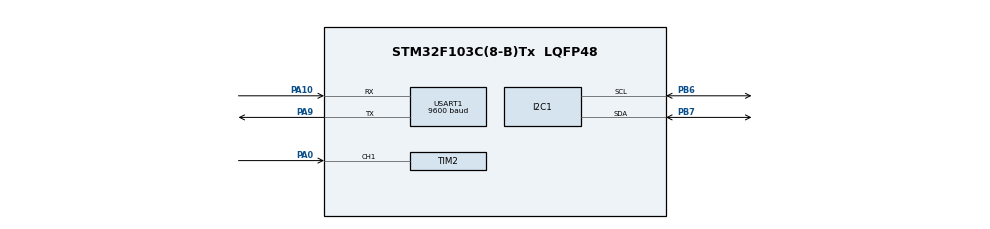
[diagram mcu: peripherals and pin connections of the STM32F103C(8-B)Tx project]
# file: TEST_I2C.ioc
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Mcu.Family=STM32F1
Mcu.Name=STM32F103C(8-B)Tx
Mcu.Package=LQFP48
NVIC.PriorityGroup=NVIC_PRIORITYGROUP_4
NVIC.TIM2_IRQn=true\:0\:0\:false\:false\:true\:true\:true\:true
NVIC.USART1_IRQn=true\:0\:0\:false\:false\:true\:true\:true\:true
PA0-WKUP.Signal=S_TIM2_CH1_ETR
PA10.Mode=Asynchronous
PA10.Signal=USART1_RX
PA13.Mode=Serial_Wire
PA13.Signal=SYS_JTMS-SWDIO
PA14.Mode=Serial_Wire
PA14.Signal=SYS_JTCK-SWCLK
PA9.Mode=Asynchronous
PA9.Signal=USART1_TX
PB6.Mode=I2C
PB6.Signal=I2C1_SCL
PB7.Mode=I2C
PB7.Signal=I2C1_SDA
PD0-OSC_IN.Mode=HSE-External-Oscillator
PD0-OSC_IN.Signal=RCC_OSC_IN
PD1-OSC_OUT.Mode=HSE-External-Oscillator
PD1-OSC_OUT.Signal=RCC_OSC_OUT
ProjectManager.HeapSize=0x200
ProjectManager.StackSize=0x400
ProjectManager.TargetToolchain=MDK-ARM V5.32
RCC.APB1Freq_Value=8000000
RCC.APB2Freq_Value=8000000
SH.S_TIM2_CH1_ETR.0=TIM2_CH1,Input_Capture1_from_TI1
TIM2.Channel-Input_Capture1_from_TI1=TIM_CHANNEL_1
TIM2.ICPolarity_CH1=TIM_INPUTCHANNELPOLARITY_FALLING
TIM2.Prescaler=799
USART1.BaudRate=9600
USART1.VirtualMode=VM_ASYNC
board=custom

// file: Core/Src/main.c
/* USER CODE BEGIN Header */
/**
  ******************************************************************************
  * @file           : main.c
  * @brief          : Main program body
  ******************************************************************************
  * @attention
  *
  * Copyright (c) 2025 STMicroelectronics.
  * All rights reserved.
  *
  * This software is licensed under terms that can be found in the LICENSE file
  * in the root directory of this software component.
  * If no LICENSE file comes with this software, it is provided AS-IS.
  *
  ******************************************************************************
  */
/* USER CODE END Header */
#include "main.h"

/* USER CODE BEGIN Includes */
#include "CLCD_I2C.h"
#include <stdio.h>
#include <string.h>
/* USER CODE END Includes */

I2C_HandleTypeDef hi2c1;

TIM_HandleTypeDef htim2;

UART_HandleTypeDef huart1;

/* USER CODE BEGIN PV */
CLCD_I2C_Name LCD1;
uint8_t key = 0;
char LCD_send[16];
char status[10];

uint8_t rx_data;          // D? li?u nh?n 1 byte
uint8_t rx_flag = 0;      // C? b?o d? nh?n du?c d? li?u
float sensor_value = 0;   // Gi? tr? d? li?u thay d?i (v? d? c?m bi?n)
float last_value = 0;     // Luu gi? tr? cu d? so s?nh
char tx_buffer[50];       // B? d?m truy?n UART
/* USER CODE END PV */

void SystemClock_Config(void);
static void MX_GPIO_Init(void);
static void MX_I2C1_Init(void);
static void MX_TIM2_Init(void);
static void MX_USART1_UART_Init(void);
/* USER CODE BEGIN PFP */
#define START_MIN_TIME 130
#define START_MAX_TIME 140
#define COMMAND        17

uint16_t time_pre = 0;
uint16_t time_current = 0;
uint16_t period = 0;
uint8_t count = 0;
uint32_t bit = 0;
uint32_t hex_ir = 0;
/* USER CODE END PFP */

int main(void)
{

  /* MCU Configuration--------------------------------------------------------*/

  /* Reset of all peripherals, Initializes the Flash interface and the Systick. */
  HAL_Init();

  /* Configure the system clock */
  SystemClock_Config();

  /* Initialize all configured peripherals */
  MX_GPIO_Init();
  MX_I2C1_Init();
  MX_TIM2_Init();
  MX_USART1_UART_Init();
  /* USER CODE BEGIN 2 */
HAL_TIM_IC_Start_IT(&htim2, TIM_CHANNEL_1);
CLCD_I2C_Init(&LCD1, &hi2c1, 0x4e, 16, 2);
HAL_UART_Transmit(&huart1, (uint8_t *)"UART started\r\n", 13, 1000);

  /* USER CODE END 2 */

  /* Infinite loop */
  while (1)
  {

    /* USER CODE BEGIN 3 */
		CLCD_I2C_SetCursor(&LCD1, 0, 0);
		CLCD_I2C_WriteString(&LCD1, "Diep Van Du");

		//CLCD_I2C_SetCursor(&LCD1, 0, 1);
		//sprintf(LCD_send, "So phim: %d",key);
		if(hex_ir != 0){
			//memset(status, 0, sizeof(status));
		  switch(hex_ir){
		     case 33476910: key = 0; break;
			   case 33448350: key = 1; break;
			   case 33436110: key = 2; break;
               case 33486090: key = 3; break;
			   case 33432030: key = 4; break;
			   case 33452430: key = 5; break;
			   case 33469770: key = 6; break;
			   case 33457530: key = 7; break;
			   case 33461610: key = 8; break;
			   case 33465690: key = 9; break;
			   default: key = 0; break;
		}
		   CLCD_I2C_SetCursor(&LCD1, 0, 1);
       //CLCD_WriteString(&LCD1, "                "); // clear line
		   sprintf(LCD_send, "So phim: %d",key);
		   CLCD_I2C_SetCursor(&LCD1, 0, 1);
		   CLCD_I2C_WriteString(&LCD1, LCD_send);
	//	sprintf(LCD_send, "So phim: %d",key);
	//	CLCD_SetCursor(&LCD1, 8, 1);
	//	CLCD_WriteString(&LCD1, LCD_send);
		HAL_Delay(1000);
	hex_ir = 0;
  }
  //sprintf(tx_buffer, "IR Code: %d \r\n", hex_ir);
  //HAL_UART_Transmit(&huart1, (uint8_t *)tx_buffer, strlen(tx_buffer), 1000);

  }
  /* USER CODE END 3 */
}

void SystemClock_Config(void)
{
  RCC_OscInitTypeDef RCC_OscInitStruct = {0};
  RCC_ClkInitTypeDef RCC_ClkInitStruct = {0};

  /** Initializes the RCC Oscillators according to the specified parameters
  * in the RCC_OscInitTypeDef structure.
  */
  RCC_OscInitStruct.OscillatorType = RCC_OSCILLATORTYPE_HSI;
  RCC_OscInitStruct.HSIState = RCC_HSI_ON;
  RCC_OscInitStruct.HSICalibrationValue = RCC_HSICALIBRATION_DEFAULT;
  RCC_OscInitStruct.PLL.PLLState = RCC_PLL_NONE;
  if (HAL_RCC_OscConfig(&RCC_OscInitStruct) != HAL_OK)
  {
    Error_Handler();
  }

  /** Initializes the CPU, AHB and APB buses clocks
  */
  RCC_ClkInitStruct.ClockType = RCC_CLOCKTYPE_HCLK|RCC_CLOCKTYPE_SYSCLK
                              |RCC_CLOCKTYPE_PCLK1|RCC_CLOCKTYPE_PCLK2;
  RCC_ClkInitStruct.SYSCLKSource = RCC_SYSCLKSOURCE_HSI;
  RCC_ClkInitStruct.AHBCLKDivider = RCC_SYSCLK_DIV1;
  RCC_ClkInitStruct.APB1CLKDivider = RCC_HCLK_DIV1;
  RCC_ClkInitStruct.APB2CLKDivider = RCC_HCLK_DIV1;

  if (HAL_RCC_ClockConfig(&RCC_ClkInitStruct, FLASH_LATENCY_0) != HAL_OK)
  {
    Error_Handler();
  }
}

static void MX_I2C1_Init(void)
{

  hi2c1.Instance = I2C1;
  hi2c1.Init.ClockSpeed = 100000;
  hi2c1.Init.DutyCycle = I2C_DUTYCYCLE_2;
  hi2c1.Init.OwnAddress1 = 0;
  hi2c1.Init.AddressingMode = I2C_ADDRESSINGMODE_7BIT;
  hi2c1.Init.DualAddressMode = I2C_DUALADDRESS_DISABLE;
  hi2c1.Init.OwnAddress2 = 0;
  hi2c1.Init.GeneralCallMode = I2C_GENERALCALL_DISABLE;
  hi2c1.Init.NoStretchMode = I2C_NOSTRETCH_DISABLE;
  if (HAL_I2C_Init(&hi2c1) != HAL_OK)
  {
    Error_Handler();
  }

}

static void MX_TIM2_Init(void)
{

  TIM_MasterConfigTypeDef sMasterConfig = {0};
  TIM_IC_InitTypeDef sConfigIC = {0};

  htim2.Instance = TIM2;
  htim2.Init.Prescaler = 799;
  htim2.Init.CounterMode = TIM_COUNTERMODE_UP;
  htim2.Init.Period = 65535;
  htim2.Init.ClockDivision = TIM_CLOCKDIVISION_DIV1;
  htim2.Init.AutoReloadPreload = TIM_AUTORELOAD_PRELOAD_DISABLE;
  if (HAL_TIM_IC_Init(&htim2) != HAL_OK)
  {
    Error_Handler();
  }
  sMasterConfig.MasterOutputTrigger = TIM_TRGO_RESET;
  sMasterConfig.MasterSlaveMode = TIM_MASTERSLAVEMODE_DISABLE;
  if (HAL_TIMEx_MasterConfigSynchronization(&htim2, &sMasterConfig) != HAL_OK)
  {
    Error_Handler();
  }
  sConfigIC.ICPolarity = TIM_INPUTCHANNELPOLARITY_FALLING;
  sConfigIC.ICSelection = TIM_ICSELECTION_DIRECTTI;
  sConfigIC.ICPrescaler = TIM_ICPSC_DIV1;
  sConfigIC.ICFilter = 0;
  if (HAL_TIM_IC_ConfigChannel(&htim2, &sConfigIC, TIM_CHANNEL_1) != HAL_OK)
  {
    Error_Handler();
  }

}

static void MX_USART1_UART_Init(void)
{

  huart1.Instance = USART1;
  huart1.Init.BaudRate = 9600;
  huart1.Init.WordLength = UART_WORDLENGTH_8B;
  huart1.Init.StopBits = UART_STOPBITS_1;
  huart1.Init.Parity = UART_PARITY_NONE;
  huart1.Init.Mode = UART_MODE_TX_RX;
  huart1.Init.HwFlowCtl = UART_HWCONTROL_NONE;
  huart1.Init.OverSampling = UART_OVERSAMPLING_16;
  if (HAL_UART_Init(&huart1) != HAL_OK)
  {
    Error_Handler();
  }

}

static void MX_GPIO_Init(void)
{

  /* GPIO Ports Clock Enable */
  __HAL_RCC_GPIOD_CLK_ENABLE();
  __HAL_RCC_GPIOA_CLK_ENABLE();
  __HAL_RCC_GPIOB_CLK_ENABLE();

}

/* USER CODE BEGIN 4 */
void HAL_TIM_IC_CaptureCallback(TIM_HandleTypeDef *htim){
  time_current = HAL_TIM_ReadCapturedValue(&htim2, TIM_CHANNEL_1);
	period = time_current - time_pre;
	time_pre = time_current;
	if(period > START_MIN_TIME && period < START_MAX_TIME){
	  hex_ir = 0;
		count = 0;
		bit = 0;
	}
	else if(period > COMMAND){
	  bit = bit | 0x01;
		bit = bit << 1;
		count++;
	}
	else if(period < COMMAND){
	  bit = bit << 1;
		count++;
	}
	if(count == 32){
	  hex_ir =  bit;
	}
}
/* USER CODE END 4 */

void Error_Handler(void)
{
  __disable_irq();
  while (1)
  {
  }
}
